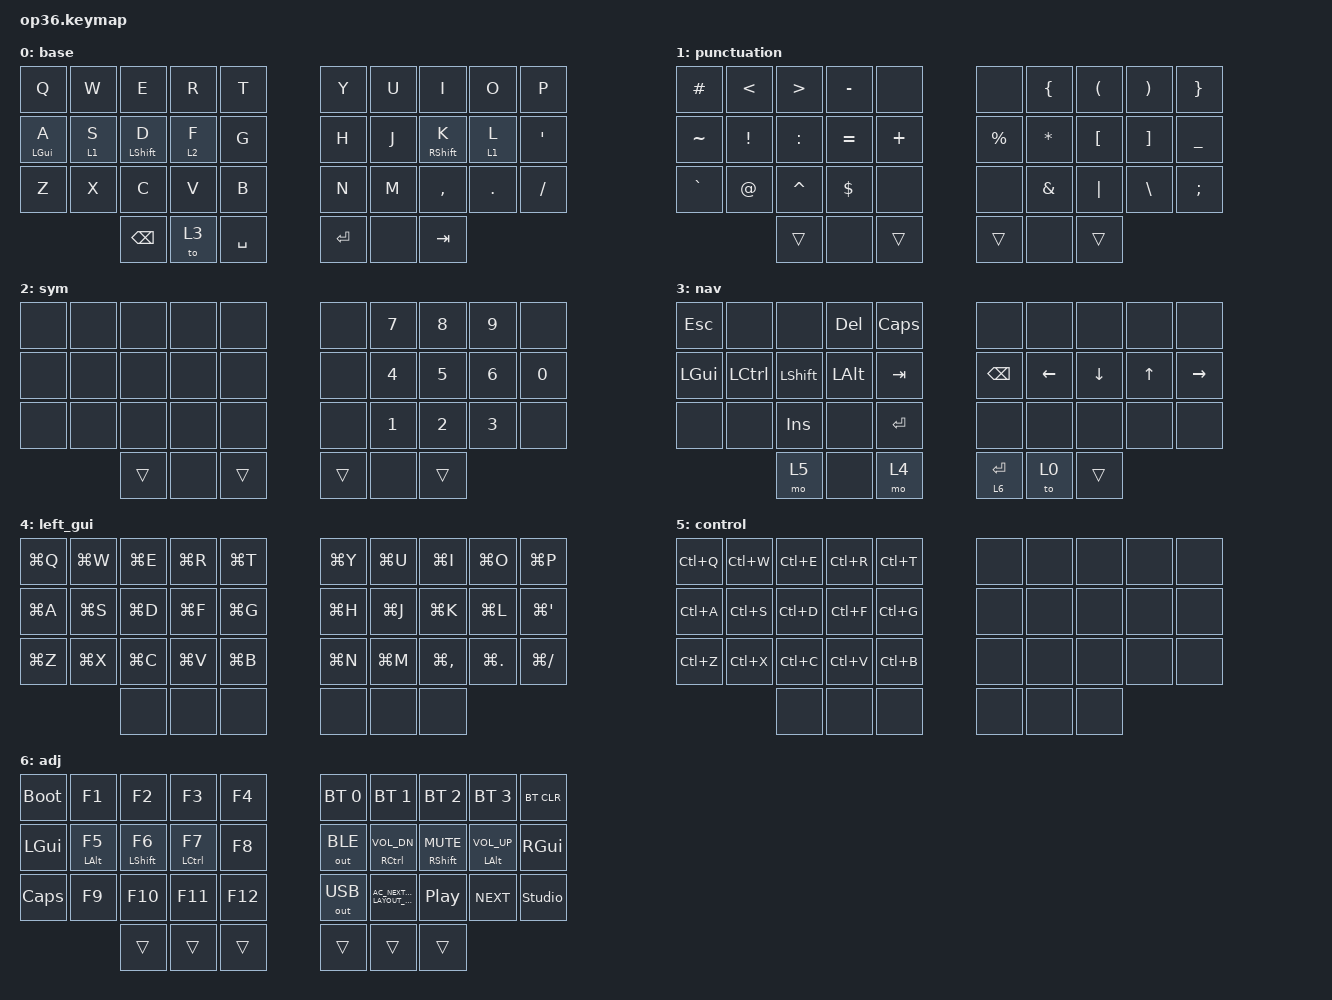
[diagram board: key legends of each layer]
#include "keys_ru.h"
#include <behaviors.dtsi>
#include <dt-bindings/zmk/bt.h>
#include <dt-bindings/zmk/keys.h>
#include <dt-bindings/zmk/outputs.h>

&mt {
    tapping-term-ms = <50>;
    flavor = "tap-preferred";
    require-prior-idle-ms = <125>;
};

/ {
    behaviors {
        hml: home_row_mod_left {
            compatible = "zmk,behavior-hold-tap";
            #binding-cells = <2>;
            flavor = "balanced";
            require-prior-idle-ms = <75>;
            tapping-term-ms = <280>;
            quick-tap-ms = <175>;
            bindings = <&kp>, <&kp>;

            hold-trigger-key-positions = <5 6 7 8 9 15 16 17 18 19 25 26 27 28 29 33 34 35>;
            hold-trigger-on-release;
        };

        hmr: home_row_mod_right {
            compatible = "zmk,behavior-hold-tap";
            #binding-cells = <2>;
            flavor = "balanced";
            require-prior-idle-ms = <75>;
            tapping-term-ms = <280>;
            quick-tap-ms = <175>;
            bindings = <&kp>, <&kp>;

            hold-trigger-key-positions = <0 1 2 3 4 10 11 12 13 14 20 21 22 23 24 30 31 32>;
            hold-trigger-on-release;
        };

        hmr2: hmr2 {
            compatible = "zmk,behavior-hold-tap";
            #binding-cells = <2>;
            flavor = "balanced";
            require-prior-idle-ms = <75>;
            tapping-term-ms = <280>;
            quick-tap-ms = <175>;
            bindings = <&mo>, <&kp>;

            hold-trigger-key-positions = <0 1 2 3 4 10 11 12 13 14 20 21 22 23 24 30 31 32>;
            hold-trigger-on-release;
            label = "HMR2";
        };

        hml2: hml2 {
            compatible = "zmk,behavior-hold-tap";
            #binding-cells = <2>;
            flavor = "balanced";
            require-prior-idle-ms = <75>;
            tapping-term-ms = <280>;
            quick-tap-ms = <175>;
            bindings = <&mo>, <&kp>;

            hold-trigger-key-positions = <5 6 7 8 9 15 16 17 18 19 25 26 27 28 29 33 34 35>;
            hold-trigger-on-release;
            label = "HML2";
        };
    };

    combos { compatible = "zmk,combos"; };

    keymap {
        compatible = "zmk,keymap";

        base {
            bindings = <
  &kp Q        &kp W      &kp E         &kp R          &kp T                          &kp Y  &kp U    &kp I         &kp O      &kp P
  &hml LGUI A  &hml2 1 S  &hml LSHFT D  &hml2 2 F      &kp G                          &kp H  &kp J    &hmr RSHFT K  &hmr2 1 L  &kp SINGLE_QUOTE
  &kp Z        &kp X      &kp C         &kp V          &kp B                          &kp N  &kp M    &kp COMMA     &kp DOT    &kp SLASH
                                        &kp BACKSPACE  &to 3  &kp SPACE    &kp ENTER  &none  &kp TAB
            >;
        };

        punctuation {
            bindings = <
  &kp HASH   &kp LESS_THAN  &kp GREATER_THAN  &kp MINUS   &none                       &none        &kp LEFT_BRACE  &kp LEFT_PARENTHESIS  &kp RIGHT_PARENTHESIS  &kp RIGHT_BRACE
  &kp TILDE  &kp EXCL       &kp COLON         &kp EQUAL   &kp PLUS                    &kp PERCENT  &kp STAR        &kp LEFT_BRACKET      &kp RIGHT_BRACKET      &kp UNDER
  &kp GRAVE  &kp AT         &kp CARET         &kp DOLLAR  &none                       &none        &kp AMPERSAND   &kp PIPE              &kp BACKSLASH          &kp SEMI
                                              &trans      &none     &trans    &trans  &none        &trans
            >;
        };

        sym {
            bindings = <
  &none  &none  &none  &none   &none                    &none  &kp N7  &kp N8  &kp N9  &none
  &none  &none  &none  &none   &none                    &none  &kp N4  &kp N5  &kp N6  &kp N0
  &none  &none  &none  &none   &none                    &none  &kp N1  &kp N2  &kp N3  &none
                       &trans  &none  &trans    &trans  &none  &trans
            >;
        };

        nav {
            bindings = <
  &kp ESCAPE    &none             &none           &kp DELETE    &kp CAPS                         &none          &none     &none     &none   &none
  &kp LEFT_GUI  &kp LEFT_CONTROL  &kp LEFT_SHIFT  &kp LEFT_ALT  &kp TAB                          &kp BACKSPACE  &kp LEFT  &kp DOWN  &kp UP  &kp RIGHT
  &none         &none             &kp INS         &none         &kp ENTER                        &none          &none     &none     &none   &none
                                                  &mo 5         &none      &mo 4    &lt 6 ENTER  &to 0          &trans
            >;
        };

        left_gui {
            bindings = <
  &kp LG(Q)  &kp LG(W)  &kp LG(E)  &kp LG(R)  &kp LG(T)                  &kp LG(Y)  &kp LG(U)  &kp LG(I)      &kp LG(O)    &kp LG(P)
  &kp LG(A)  &kp LG(S)  &kp LG(D)  &kp LG(F)  &kp LG(G)                  &kp LG(H)  &kp LG(J)  &kp LG(K)      &kp LG(L)    &kp LG(SQT)
  &kp LG(Z)  &kp LG(X)  &kp LG(C)  &kp LG(V)  &kp LG(B)                  &kp LG(N)  &kp LG(M)  &kp LG(COMMA)  &kp LG(DOT)  &kp LG(FSLH)
                                   &none      &none      &none    &none  &none      &none
            >;
        };

        control {
            bindings = <
  &kp LC(Q)  &kp LC(W)  &kp LC(E)  &kp LC(R)  &kp LC(T)                  &none  &none  &none  &none  &none
  &kp LC(A)  &kp LC(S)  &kp LC(D)  &kp LC(F)  &kp LC(G)                  &none  &none  &none  &none  &none
  &kp LC(Z)  &kp LC(X)  &kp LC(C)  &kp LC(V)  &kp LC(B)                  &none  &none  &none  &none  &none
                                   &none      &none      &none    &none  &none  &none
            >;
        };

        adj {
            bindings = <
  &bootloader   &kp F1        &kp F2         &kp F3         &kp F4                     &bt BT_SEL 0  &bt BT_SEL 1                          &bt BT_SEL 2       &bt BT_SEL 3        &bt BT_CLR
  &kp LGUI      &hml LALT F5  &hml LSHFT F6  &hml LCTRL F7  &kp F8                     &out OUT_BLE  &hmr RCTRL C_VOL_DN                   &hmr RSHFT C_MUTE  &hmr LALT C_VOL_UP  &kp RGUI
  &kp CAPSLOCK  &kp F9        &kp F10        &kp F11        &kp F12                    &out OUT_USB  &kp C_AC_NEXT_KEYBOARD_LAYOUT_SELECT  &kp C_PP           &kp C_NEXT          &studio_unlock
                                             &trans         &trans   &trans    &trans  &trans        &trans
            >;
        };
    };
};
